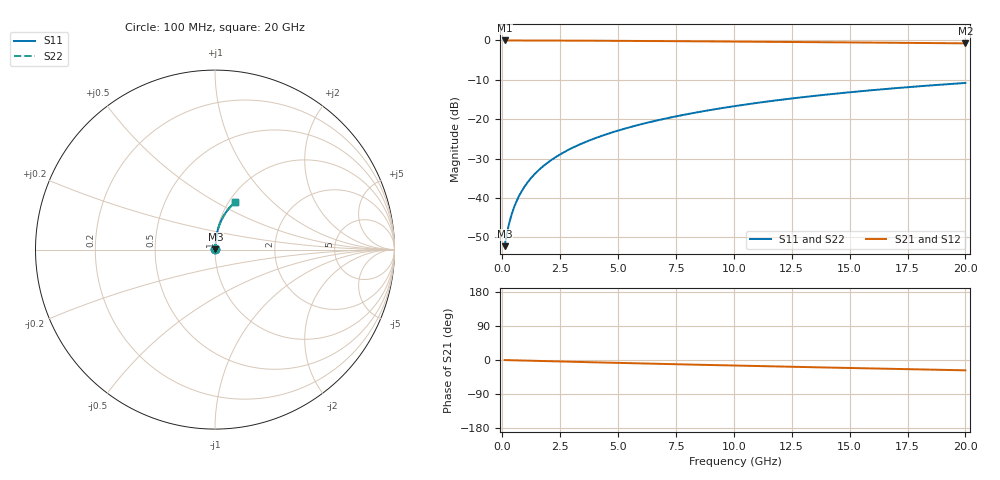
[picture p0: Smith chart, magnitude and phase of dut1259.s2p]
! Touchstone file exported from HFSS 2024.1.0
!  File:  C:/UserFiles/LocalFiles/RDL_TSV_Batchsim/temp_RDL_bottom_1259_1780245737.aedt
!  Generated:  12:44:24 AM Jun  1, 2026
!  Design:  RDL_bottom
!  Project:  temp_RDL_bottom_1259_1780245737
!  Setup:  Setup1
!  Solution:  Sweep
! Variables:
!  dtsv = 10.80580581um
!  hbump = 3um
!  htsv = 53.13um
!  ldown = 376.18um
!  lrdl = 100um
!  p = 40
!  p1 = 42.61um
!  rhole = 1um
!  t = 450um
!  tdown = 4.59um
!  trdl = 3.915915916um
!  wdown = 16.23um
!  wrdl = 20um
# GHz S MA R 50.000000
! Terminal data exported
! Port[1] = RDL1_T1
! Port[2] = RDL1_T2
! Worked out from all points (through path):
!   200 points, 100 MHz to 20 GHz, reference 50 ohm
!   highest |S21| = -0.02 dB at 100 MHz (marker M1); lowest = -0.7 dB at 20 GHz (marker M2)
!   group delay of S21, straight-line fit = 3.76 ps
!   lowest |S11| = -52.2 dB at 100 MHz (marker M3), VSWR 1.00, Z = 50.2 + j0.153 ohm
!   |S11| at or under -10 dB: start of sweep to end of sweep
!   |S22| runs from -52.2 to -10.8 dB; largest |S21 - S12| = 3.6e-15
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0.1  0.002445 38.4  0.9981 -0.2  0.9981 -0.2  0.002445 38.4
! Gamma 0 0 0 0
! Port Impedance 50 0 50 0
0.2  0.003562 56.0  0.998 -0.3  0.998 -0.3  0.003561 56.0
0.3  0.004818 65.0  0.9979 -0.5  0.9979 -0.5  0.004817 65.0
0.4  0.00614 70.3  0.9978 -0.6  0.9978 -0.6  0.006139 70.3
0.5  0.007497 73.7  0.9977 -0.8  0.9977 -0.8  0.007497 73.7
0.6  0.008876 76.1  0.9976 -1.0  0.9976 -1.0  0.008876 76.1
0.8  0.01167 79.1  0.9974 -1.3  0.9974 -1.3  0.01167 79.1
1.1  0.01589 81.5  0.9971 -1.7  0.9971 -1.7  0.01589 81.5
1.5  0.02155 83.0  0.9966 -2.4  0.9966 -2.4  0.02155 83.0
1.8  0.0258 83.7  0.9961 -2.8  0.9961 -2.8  0.02581 83.7
2.1  0.03006 84.1  0.9956 -3.3  0.9956 -3.3  0.03006 84.1
2.7  0.03858 84.4  0.9943 -4.2  0.9943 -4.2  0.03858 84.4
3.5  0.05 84.5  0.9921 -5.4  0.9921 -5.4  0.05 84.5
4.2  0.06007 84.3  0.99 -6.5  0.99 -6.5  0.06007 84.3
5  0.07167 84.0  0.9872 -7.6  0.9872 -7.6  0.07167 84.0
5.9  0.08485 83.4  0.9838 -8.9  0.9838 -8.9  0.08486 83.4
6.8  0.09815 82.7  0.9802 -10.2  0.9802 -10.2  0.09816 82.7
8.4  0.122 81.2  0.9734 -12.4  0.9734 -12.4  0.122 81.2
10.1  0.1475 79.3  0.9659 -14.7  0.9659 -14.7  0.1475 79.3
13.4  0.1964 75.3  0.9504 -19.0  0.9504 -19.0  0.1965 75.4
16.7  0.2436 71.2  0.9342 -23.2  0.9342 -23.2  0.2437 71.2
20  0.2883 67.0  0.9173 -27.2  0.9173 -27.2  0.2884 67.0
